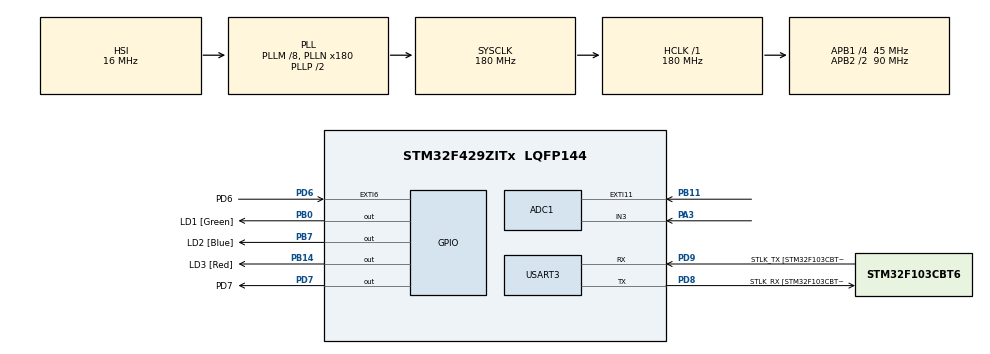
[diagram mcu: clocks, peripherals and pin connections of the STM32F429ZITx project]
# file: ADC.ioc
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ADC1.Channel-0\#ChannelRegularConversion=ADC_CHANNEL_3
ADC1.ExternalTrigConvEdge=ADC_EXTERNALTRIGCONVEDGE_RISINGFALLING
ADC1.NbrOfConversion=1
ADC1.NbrOfConversionFlag=1
ADC1.Rank-0\#ChannelRegularConversion=1
ADC1.SamplingTime-0\#ChannelRegularConversion=ADC_SAMPLETIME_3CYCLES
ADC1.master=1
Mcu.Family=STM32F4
Mcu.Name=STM32F429ZITx
Mcu.Package=LQFP144
NVIC.ADC_IRQn=true\:0\:0\:false\:false\:true\:true\:true\:true
NVIC.EXTI9_5_IRQn=true\:0\:0\:false\:false\:true\:true\:true\:true
NVIC.PriorityGroup=NVIC_PRIORITYGROUP_4
PA13.GPIO_Label=TMS
PA13.Mode=Serial_Wire
PA13.Signal=SYS_JTMS-SWDIO
PA14.GPIO_Label=TCK
PA14.Mode=Serial_Wire
PA14.Signal=SYS_JTCK-SWCLK
PA3.Signal=ADCx_IN3
PB0.GPIO_Label=LD1 [Green]
PB0.Signal=GPIO_Output
PB11.GPIO_ModeDefaultEXTI=GPIO_MODE_IT_FALLING
PB11.GPIO_PuPd=GPIO_NOPULL
PB11.Signal=GPXTI11
PB14.GPIO_Label=LD3 [Red]
PB14.Signal=GPIO_Output
PB7.GPIO_Label=LD2 [Blue]
PB7.Signal=GPIO_Output
PD6.GPIO_Label=PD6
PD6.GPIO_ModeDefaultEXTI=GPIO_MODE_IT_FALLING
PD6.GPIO_PuPd=GPIO_PULLUP
PD6.Signal=GPXTI6
PD7.GPIO_Label=PD7
PD7.Signal=GPIO_Output
PD8.GPIO_Label=STLK_RX [STM32F103CBT6_PA3]
PD8.Mode=Asynchronous
PD8.Signal=USART3_TX
PD9.GPIO_Label=STLK_TX [STM32F103CBT6_PA2]
PD9.Mode=Asynchronous
PD9.Signal=USART3_RX
ProjectManager.HeapSize=0x200
ProjectManager.StackSize=0x400
ProjectManager.TargetToolchain=STM32CubeIDE
RCC.48MHZClocksFreq_Value=51428571.428571425
RCC.AHBFreq_Value=180000000
RCC.APB1CLKDivider=RCC_HCLK_DIV4
RCC.APB1Freq_Value=45000000
RCC.APB1TimFreq_Value=90000000
RCC.APB2CLKDivider=RCC_HCLK_DIV2
RCC.APB2Freq_Value=90000000
RCC.APB2TimFreq_Value=180000000
RCC.CortexFreq_Value=180000000
RCC.HCLKFreq_Value=180000000
RCC.HSE_VALUE=8000000
RCC.HSI_VALUE=16000000
RCC.LSE_VALUE=32768
RCC.PLLM=8
RCC.PLLMUL=RCC_PLL_MUL9
RCC.PLLN=180
RCC.PLLQ=7
RCC.PRESCALERUSB=RCC_USBCLKSOURCE_PLL_DIV1_5
RCC.SYSCLKFreq_VALUE=180000000
RCC.SYSCLKSource=RCC_SYSCLKSOURCE_PLLCLK
RCC.SYSCLKSourceVirtual=RCC_SYSCLKSOURCE_PLLCLK
RCC.USBFreq_Value=48000000
RCC.VCOOutputFreq_Value=360000000
SH.ADCx_IN3.0=ADC1_IN3,IN3
USART3.VirtualMode=VM_ASYNC
board=NUCLEO-F429ZI

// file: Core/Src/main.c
/* USER CODE BEGIN Header */
/**
 ******************************************************************************
 * @file           : main.c
 * @brief          : Main program body
 ******************************************************************************
 * @attention
 *
 * Copyright (c) 2024 STMicroelectronics.
 * All rights reserved.
 *
 * This software is licensed under terms that can be found in the LICENSE file
 * in the root directory of this software component.
 * If no LICENSE file comes with this software, it is provided AS-IS.
 *
 ******************************************************************************
 */
/* USER CODE END Header */
#include "main.h"
#include "adc.h"
#include "usart.h"
#include "gpio.h"

/* USER CODE BEGIN Includes */
#include <stdio.h>
/* USER CODE END Includes */

void SystemClock_Config(void);

/* USER CODE BEGIN 0 */
extern ADC_HandleTypeDef hadc1;
extern UART_HandleTypeDef huart3;

uint16_t adc_value = 0;

char datos[10];

volatile flag_adc = 0;
/* USER CODE END 0 */

int main(void)
{

  /* MCU Configuration--------------------------------------------------------*/

  /* Reset of all peripherals, Initializes the Flash interface and the Systick. */
  HAL_Init();

  /* Configure the system clock */
  SystemClock_Config();

  /* Initialize all configured peripherals */
  MX_GPIO_Init();
  MX_USART3_UART_Init();
  MX_ADC1_Init();
  /* USER CODE BEGIN 2 */
	//HAL_ADC_Start(&hadc1);
	HAL_ADC_Start_IT(&hadc1);
  /* USER CODE END 2 */

  /* Infinite loop */
	while (1)
	{

    /* USER CODE BEGIN 3 */
		/* parte 1
		if(HAL_ADC_PollForConversion(&hadc1, 100) == HAL_OK)
		{
			adc_value = HAL_ADC_GetValue(&hadc1);
			sprintf(datos,"%d \r\n",adc_value);
			HAL_UART_Transmit(&huart3, datos, sizeof(datos), HAL_MAX_DELAY);
			HAL_ADC_Start(&hadc1);
		}
		HAL_Delay(100);*/
		/* PARTE 2 */
		if(flag_adc)
		{
			sprintf(datos,"%.2f \r\n",(adc_value*3.6/4095));
			HAL_UART_Transmit(&huart3, datos, sizeof(datos), HAL_MAX_DELAY);
			HAL_ADC_Start_IT(&hadc1);
			flag_adc = 0;
		}

	}
  /* USER CODE END 3 */
}

void SystemClock_Config(void)
{
  RCC_OscInitTypeDef RCC_OscInitStruct = {0};
  RCC_ClkInitTypeDef RCC_ClkInitStruct = {0};

  /** Configure the main internal regulator output voltage
  */
  __HAL_RCC_PWR_CLK_ENABLE();
  __HAL_PWR_VOLTAGESCALING_CONFIG(PWR_REGULATOR_VOLTAGE_SCALE1);

  /** Initializes the RCC Oscillators according to the specified parameters
  * in the RCC_OscInitTypeDef structure.
  */
  RCC_OscInitStruct.OscillatorType = RCC_OSCILLATORTYPE_HSI;
  RCC_OscInitStruct.HSIState = RCC_HSI_ON;
  RCC_OscInitStruct.HSICalibrationValue = RCC_HSICALIBRATION_DEFAULT;
  RCC_OscInitStruct.PLL.PLLState = RCC_PLL_ON;
  RCC_OscInitStruct.PLL.PLLSource = RCC_PLLSOURCE_HSI;
  RCC_OscInitStruct.PLL.PLLM = 8;
  RCC_OscInitStruct.PLL.PLLN = 180;
  RCC_OscInitStruct.PLL.PLLP = RCC_PLLP_DIV2;
  RCC_OscInitStruct.PLL.PLLQ = 7;
  if (HAL_RCC_OscConfig(&RCC_OscInitStruct) != HAL_OK)
  {
    Error_Handler();
  }

  /** Activate the Over-Drive mode
  */
  if (HAL_PWREx_EnableOverDrive() != HAL_OK)
  {
    Error_Handler();
  }

  /** Initializes the CPU, AHB and APB buses clocks
  */
  RCC_ClkInitStruct.ClockType = RCC_CLOCKTYPE_HCLK|RCC_CLOCKTYPE_SYSCLK
                              |RCC_CLOCKTYPE_PCLK1|RCC_CLOCKTYPE_PCLK2;
  RCC_ClkInitStruct.SYSCLKSource = RCC_SYSCLKSOURCE_PLLCLK;
  RCC_ClkInitStruct.AHBCLKDivider = RCC_SYSCLK_DIV1;
  RCC_ClkInitStruct.APB1CLKDivider = RCC_HCLK_DIV4;
  RCC_ClkInitStruct.APB2CLKDivider = RCC_HCLK_DIV2;

  if (HAL_RCC_ClockConfig(&RCC_ClkInitStruct, FLASH_LATENCY_5) != HAL_OK)
  {
    Error_Handler();
  }
}

/* USER CODE BEGIN 4 */
void HAL_ADC_ConvCpltCallback(ADC_HandleTypeDef *hadc)
{
	adc_value = HAL_ADC_GetValue(&hadc1);
	flag_adc = 1;
}

void HAL_GPIO_EXTI_Callback(uint16_t GPIO_Pin)
{
	if(PD6_Pin == GPIO_Pin)
	{
		HAL_GPIO_TogglePin(LD2_GPIO_Port, LD2_Pin);
		HAL_GPIO_TogglePin(PD7_GPIO_Port, PD7_Pin);
	}
}
/* USER CODE END 4 */

void Error_Handler(void)
{
	__disable_irq();
	while (1)
	{
	}
}
